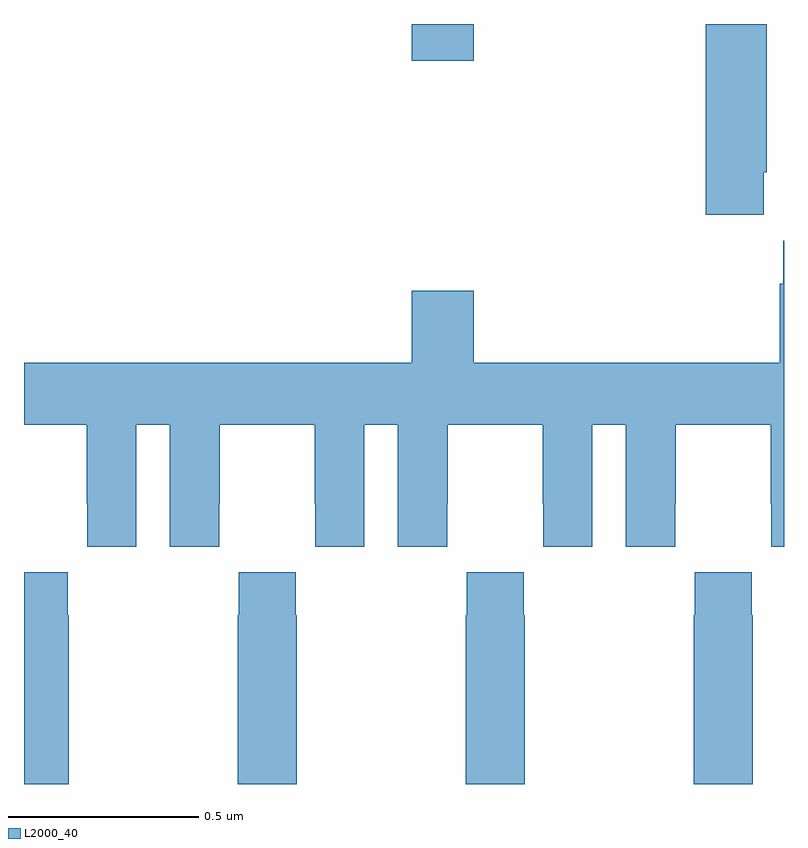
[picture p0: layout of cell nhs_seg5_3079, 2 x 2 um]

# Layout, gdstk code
import gdstk
lib = gdstk.Library(unit=1e-6, precision=1e-09)
def R(c, l, rs):  # rectangles x0, y0, x1, y1
    for r in rs: c.add(gdstk.rectangle(r[:2], r[2:], *l))
def P(c, l, *ps):  # polygons
    for p in ps: c.add(gdstk.Polygon(p, *l))
L2000_40 = (2000, 40)

nhs_seg5_3079 = lib.new_cell('nhs_seg5_3079')
R(nhs_seg5_3079, L2000_40, [(153.02,873.702,153.184,873.799)])
P(nhs_seg5_3079, L2000_40, [(153.947,873.409),(153.954,873.409),(153.954,873.799),(153.794,873.799),(153.794,873.297),(153.947,873.297)],
  [(152.296,872.744),(152.384,872.744),(152.384,872.424),(152.514,872.424),(152.514,872.536),(152.515,872.536),(152.515,872.744),(152.765,872.744),(152.765,872.536),(152.766,872.536),(152.766,872.424),(152.896,872.424),(152.896,872.744),(152.984,872.744),(152.984,872.424),(153.114,872.424),(153.114,872.536),(153.115,872.536),(153.115,872.744),(153.365,872.744),(153.365,872.536),(153.366,872.536),(153.366,872.424),(153.496,872.424),(153.496,872.744),(153.584,872.744),(153.584,872.424),(153.714,872.424),(153.714,872.536),(153.715,872.536),(153.715,872.744),(153.965,872.744),(153.965,872.536),(153.966,872.536),(153.966,872.424),(154,872.424),(154,873.229),(153.998,873.229),(153.998,873.116),(153.989,873.116),(153.989,872.908),(153.184,872.908),(153.184,873.097),(153.02,873.097),(153.02,872.908),(152,872.908),(152,872.744),(152.165,872.744),(152.165,872.536),(152.166,872.536),(152.166,872.424),(152.296,872.424)],
  [(153.918,872.243),(153.915,872.243),(153.915,872.356),(153.765,872.356),(153.765,872.243),(153.763,872.243),(153.763,871.799),(153.918,871.799)],
  [(153.318,872.243),(153.315,872.243),(153.315,872.356),(153.165,872.356),(153.165,872.243),(153.163,872.243),(153.163,871.799),(153.318,871.799)],
  [(152.718,872.243),(152.715,872.243),(152.715,872.356),(152.565,872.356),(152.565,872.243),(152.563,872.243),(152.563,871.799),(152.718,871.799)],
  [(152.118,872.243),(152.115,872.243),(152.115,872.356),(152,872.356),(152,871.799),(152.118,871.799)])

lib.write_gds('nhs_seg5_3079.gds')
